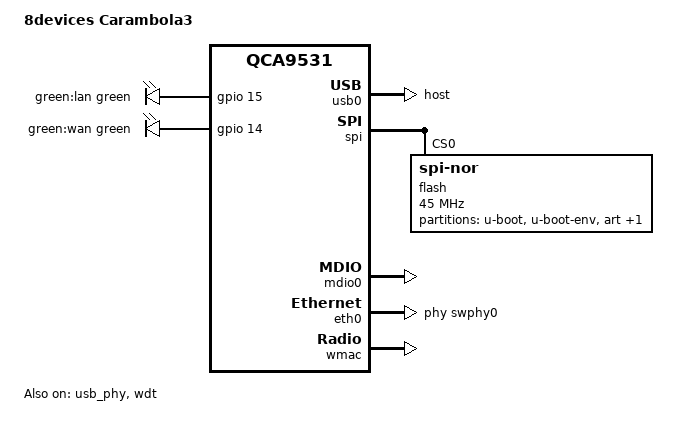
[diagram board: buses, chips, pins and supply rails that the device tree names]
// SPDX-License-Identifier: GPL-2.0-or-later OR MIT

#include "qca953x.dtsi"

#include <dt-bindings/gpio/gpio.h>
#include <dt-bindings/input/input.h>
#include <dt-bindings/leds/common.h>

/ {
	compatible = "8dev,carambola3", "qca,qca9531";
	model = "8devices Carambola3";

	aliases {
		label-mac-device = &wmac;
	};

	leds {
		compatible = "gpio-leds";

		lan {
			label = "green:lan";
			function = LED_FUNCTION_LAN;
			color = <LED_COLOR_ID_GREEN>;
			gpios = <&gpio 15 GPIO_ACTIVE_HIGH>;
		};

		wan {
			label = "green:wan";
			function = LED_FUNCTION_WAN;
			color = <LED_COLOR_ID_GREEN>;
			gpios = <&gpio 14 GPIO_ACTIVE_HIGH>;
		};
	};
};

&usb0 {
	status = "okay";

	dr_mode = "host";
};

&usb_phy {
	status = "okay";
};

&wdt {
	status = "okay";
};

&spi {
	status = "okay";

	/* Winbond W25Q256 SPI flash */
	flash@0 {
		compatible = "jedec,spi-nor";
		reg = <0>;
		spi-max-frequency = <45000000>;

		partitions {
			compatible = "fixed-partitions";
			#address-cells = <1>;
			#size-cells = <1>;

			partition@0 {
				label = "u-boot";
				reg = <0x000000 0x040000>;
				read-only;
			};

			partition@40000 {
				label = "u-boot-env";
				reg = <0x040000 0x040000>;
			};

			partition@80000 {
				label = "art";
				reg = <0x080000 0x040000>;
				read-only;

				nvmem-layout {
			     		compatible = "fixed-layout";
					#address-cells = <1>;
					#size-cells = <1>;

					macaddr_art_0: macaddr@0 {
						reg = <0x0 0x6>;
					};

					macaddr_art_6: macaddr@6 {
						reg = <0x6 0x6>;
					};

					cal_art_1000: calibration@1000 {
						reg = <0x1000 0x440>;
					};
				};
			};

			partition@c0000 {
				compatible = "denx,uimage";
				label = "firmware";
				reg = <0x0c0000 0xf40000>;
			};
		};
	};
};

&mdio0 {
	status = "okay";
};

&eth0 {
	status = "okay";

	phy-handle = <&swphy0>;

	nvmem-cells = <&macaddr_art_6>;
	nvmem-cell-names = "mac-address";

	gmac-config {
		device = <&gmac>;

		switch-phy-addr-swap = <1>;
		switch-phy-swap = <1>;
	};
};

&eth1 {
	nvmem-cells = <&macaddr_art_0>;
	nvmem-cell-names = "mac-address";
};

&wmac {
	status = "okay";

	nvmem-cells = <&cal_art_1000>;
	nvmem-cell-names = "calibration";
};
